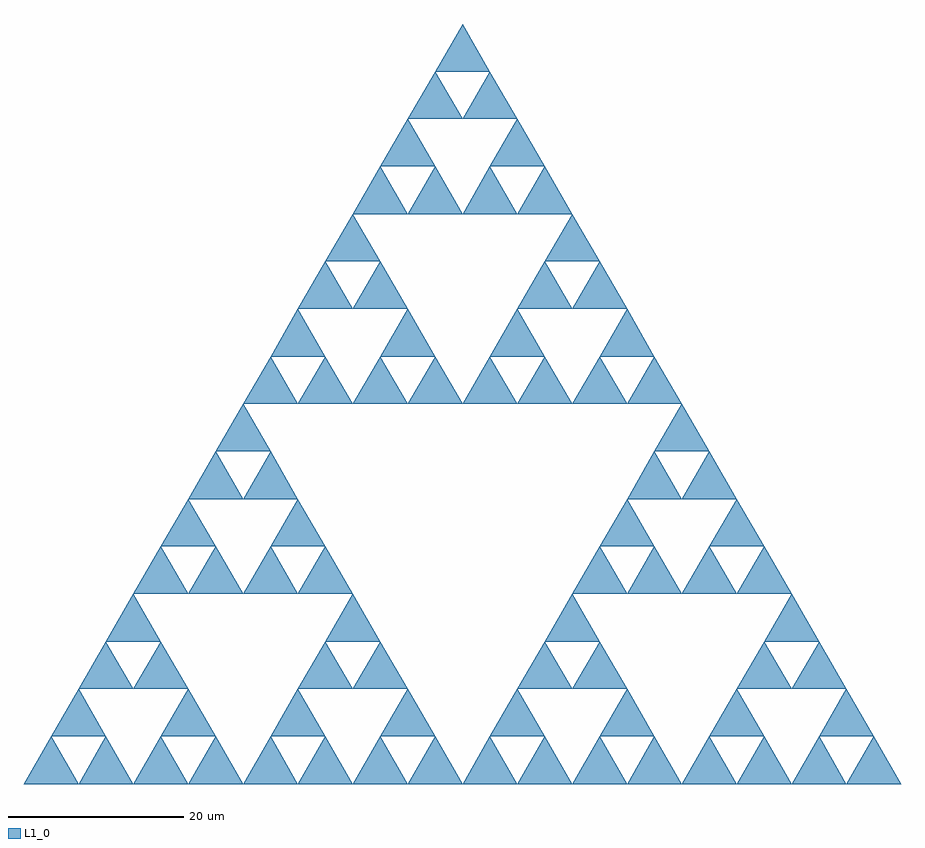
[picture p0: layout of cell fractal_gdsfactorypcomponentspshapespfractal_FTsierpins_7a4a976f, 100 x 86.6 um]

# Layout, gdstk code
import gdstk
lib = gdstk.Library(unit=1e-6, precision=1e-09)
def P(c, l, *ps):  # polygons
    for p in ps: c.add(gdstk.Polygon(p, *l))
L1_0 = (1, 0)

fractal_gdsfactorypcompo = lib.new_cell('fractal_gdsfactorypcomponentspshapespfractal_FTsierpins_7a4a976f')
P(fractal_gdsfactorypcompo, L1_0, [(-3.125,52.322),(0,57.735),(3.125,52.322)],
  [(-6.25,46.91),(-3.125,52.322),(0,46.91)],
  [(0,46.91),(3.125,52.322),(6.25,46.91)],
  [(-9.375,41.497),(-6.25,46.91),(-3.125,41.497)],
  [(-12.5,36.084),(-9.375,41.497),(-6.25,36.084)],
  [(-6.25,36.084),(-3.125,41.497),(0,36.084)],
  [(3.125,41.497),(6.25,46.91),(9.375,41.497)],
  [(0,36.084),(3.125,41.497),(6.25,36.084)],
  [(6.25,36.084),(9.375,41.497),(12.5,36.084)],
  [(-15.625,30.672),(-12.5,36.084),(-9.375,30.672)],
  [(-18.75,25.259),(-15.625,30.672),(-12.5,25.259)],
  [(-12.5,25.259),(-9.375,30.672),(-6.25,25.259)],
  [(-21.875,19.846),(-18.75,25.259),(-15.625,19.846)],
  [(-25,14.434),(-21.875,19.846),(-18.75,14.434)],
  [(-18.75,14.434),(-15.625,19.846),(-12.5,14.434)],
  [(-9.375,19.846),(-6.25,25.259),(-3.125,19.846)],
  [(-12.5,14.434),(-9.375,19.846),(-6.25,14.434)],
  [(-6.25,14.434),(-3.125,19.846),(0,14.434)],
  [(9.375,30.672),(12.5,36.084),(15.625,30.672)],
  [(6.25,25.259),(9.375,30.672),(12.5,25.259)],
  [(12.5,25.259),(15.625,30.672),(18.75,25.259)],
  [(3.125,19.846),(6.25,25.259),(9.375,19.846)],
  [(0,14.434),(3.125,19.846),(6.25,14.434)],
  [(6.25,14.434),(9.375,19.846),(12.5,14.434)],
  [(15.625,19.846),(18.75,25.259),(21.875,19.846)],
  [(12.5,14.434),(15.625,19.846),(18.75,14.434)],
  [(18.75,14.434),(21.875,19.846),(25,14.434)],
  [(-28.125,9.021),(-25,14.434),(-21.875,9.021)],
  [(-31.25,3.608),(-28.125,9.021),(-25,3.608)],
  [(-25,3.608),(-21.875,9.021),(-18.75,3.608)],
  [(-34.375,-1.804),(-31.25,3.608),(-28.125,-1.804)],
  [(-37.5,-7.217),(-34.375,-1.804),(-31.25,-7.217)],
  [(-31.25,-7.217),(-28.125,-1.804),(-25,-7.217)],
  [(-21.875,-1.804),(-18.75,3.608),(-15.625,-1.804)],
  [(-25,-7.217),(-21.875,-1.804),(-18.75,-7.217)],
  [(-18.75,-7.217),(-15.625,-1.804),(-12.5,-7.217)],
  [(-40.625,-12.63),(-37.5,-7.217),(-34.375,-12.63)],
  [(-43.75,-18.042),(-40.625,-12.63),(-37.5,-18.042)],
  [(-37.5,-18.042),(-34.375,-12.63),(-31.25,-18.042)],
  [(-46.875,-23.455),(-43.75,-18.042),(-40.625,-23.455)],
  [(-50,-28.868),(-46.875,-23.455),(-43.75,-28.868)],
  [(-43.75,-28.868),(-40.625,-23.455),(-37.5,-28.868)],
  [(-34.375,-23.455),(-31.25,-18.042),(-28.125,-23.455)],
  [(-37.5,-28.868),(-34.375,-23.455),(-31.25,-28.868)],
  [(-31.25,-28.868),(-28.125,-23.455),(-25,-28.868)],
  [(-15.625,-12.63),(-12.5,-7.217),(-9.375,-12.63)],
  [(-18.75,-18.042),(-15.625,-12.63),(-12.5,-18.042)],
  [(-12.5,-18.042),(-9.375,-12.63),(-6.25,-18.042)],
  [(-21.875,-23.455),(-18.75,-18.042),(-15.625,-23.455)],
  [(-25,-28.868),(-21.875,-23.455),(-18.75,-28.868)],
  [(-18.75,-28.868),(-15.625,-23.455),(-12.5,-28.868)],
  [(-9.375,-23.455),(-6.25,-18.042),(-3.125,-23.455)],
  [(-12.5,-28.868),(-9.375,-23.455),(-6.25,-28.868)],
  [(-6.25,-28.868),(-3.125,-23.455),(0,-28.868)],
  [(21.875,9.021),(25,14.434),(28.125,9.021)],
  [(18.75,3.608),(21.875,9.021),(25,3.608)],
  [(25,3.608),(28.125,9.021),(31.25,3.608)],
  [(15.625,-1.804),(18.75,3.608),(21.875,-1.804)],
  [(12.5,-7.217),(15.625,-1.804),(18.75,-7.217)],
  [(18.75,-7.217),(21.875,-1.804),(25,-7.217)],
  [(28.125,-1.804),(31.25,3.608),(34.375,-1.804)],
  [(25,-7.217),(28.125,-1.804),(31.25,-7.217)],
  [(31.25,-7.217),(34.375,-1.804),(37.5,-7.217)],
  [(9.375,-12.63),(12.5,-7.217),(15.625,-12.63)],
  [(6.25,-18.042),(9.375,-12.63),(12.5,-18.042)],
  [(12.5,-18.042),(15.625,-12.63),(18.75,-18.042)],
  [(3.125,-23.455),(6.25,-18.042),(9.375,-23.455)],
  [(0,-28.868),(3.125,-23.455),(6.25,-28.868)],
  [(6.25,-28.868),(9.375,-23.455),(12.5,-28.868)],
  [(15.625,-23.455),(18.75,-18.042),(21.875,-23.455)],
  [(12.5,-28.868),(15.625,-23.455),(18.75,-28.868)],
  [(18.75,-28.868),(21.875,-23.455),(25,-28.868)],
  [(34.375,-12.63),(37.5,-7.217),(40.625,-12.63)],
  [(31.25,-18.042),(34.375,-12.63),(37.5,-18.042)],
  [(37.5,-18.042),(40.625,-12.63),(43.75,-18.042)],
  [(28.125,-23.455),(31.25,-18.042),(34.375,-23.455)],
  [(25,-28.868),(28.125,-23.455),(31.25,-28.868)],
  [(31.25,-28.868),(34.375,-23.455),(37.5,-28.868)],
  [(40.625,-23.455),(43.75,-18.042),(46.875,-23.455)],
  [(37.5,-28.868),(40.625,-23.455),(43.75,-28.868)],
  [(43.75,-28.868),(46.875,-23.455),(50,-28.868)])

lib.write_gds('fractal_gdsfactorypcomponentspshapespfractal_FTsierpins_7a4a976f.gds')
